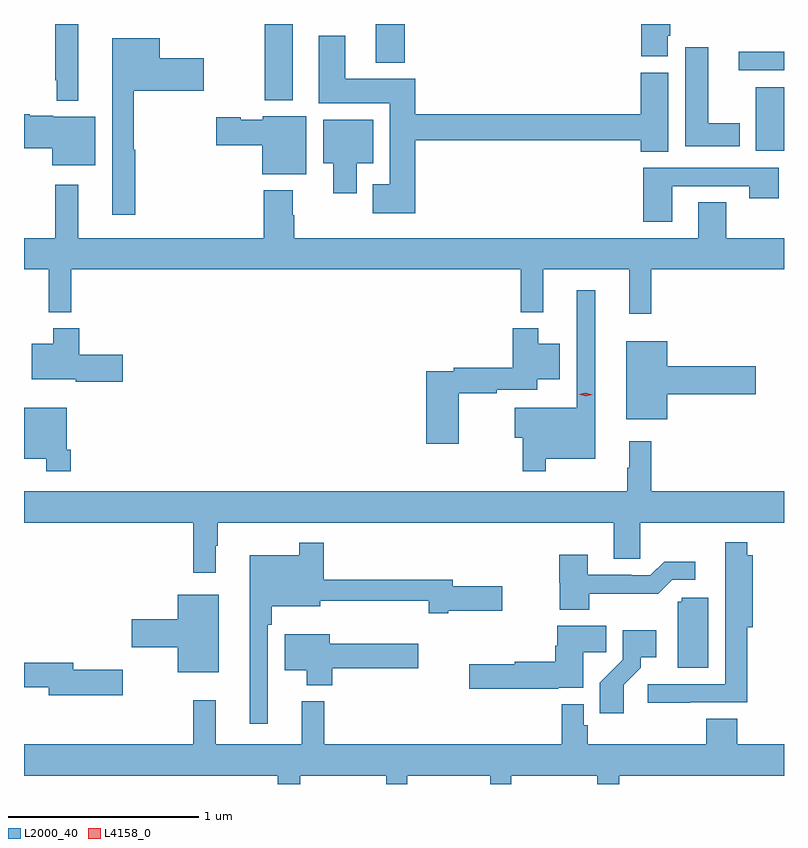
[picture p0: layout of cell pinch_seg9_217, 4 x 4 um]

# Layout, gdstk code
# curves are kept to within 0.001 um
import gdstk
lib = gdstk.Library(unit=1e-6, precision=1e-09)
def R(c, l, rs):  # rectangles x0, y0, x1, y1
    for r in rs: c.add(gdstk.rectangle(r[:2], r[2:], *l))
def P(c, l, *ps):  # polygons
    for p in ps: c.add(gdstk.Polygon(p, *l))
L2000_40 = (2000, 40)
L4158_0 = (4158, 0)

pinch_seg9_217 = lib.new_cell('pinch_seg9_217')
R(pinch_seg9_217, L2000_40, [(583.76,1209.032,583.909,1209.367), (581.176,1209.299,581.323,1209.7), (583.671,1209.456,583.909,1209.554), (581.759,1209.497,581.912,1209.7)])
P(pinch_seg9_217, L2000_40, [(583.297,1209.639),(583.31,1209.639),(583.31,1209.7),(583.157,1209.7),(583.157,1209.529),(583.297,1209.529)],
  [(580.195,1209.7),(580.074,1209.7),(580.074,1209.403),(580.081,1209.403),(580.081,1209.296),(580.195,1209.296)],
  [(581.969,1209.088),(583.154,1209.088),(583.154,1209.028),(583.3,1209.028),(583.3,1209.444),(583.154,1209.444),(583.154,1209.224),(581.969,1209.224),(581.969,1209.412),(581.599,1209.412),(581.599,1209.637),(581.459,1209.637),(581.459,1209.284),(581.834,1209.284),(581.834,1208.857),(581.744,1208.857),(581.744,1208.705),(581.969,1208.705)],
  [(580.495,1209.038),(580.487,1209.038),(580.487,1209.35),(580.855,1209.35),(580.855,1209.52),(580.624,1209.52),(580.624,1209.625),(580.373,1209.625),(580.373,1208.697),(580.495,1208.697)],
  [(583.675,1209.178),(583.51,1209.178),(583.51,1209.577),(583.388,1209.577),(583.388,1209.056),(583.675,1209.056)],
  [(580.285,1209.211),(580.062,1209.211),(580.062,1209.217),(579.94,1209.217),(579.94,1209.224),(579.909,1209.224),(579.909,1209.046),(580.058,1209.046),(580.058,1208.957),(580.285,1208.957)],
  [(581.395,1209.214),(581.166,1209.214),(581.166,1209.196),(581.049,1209.196),(581.049,1209.209),(580.92,1209.209),(580.92,1209.062),(581.162,1209.062),(581.162,1208.909),(581.395,1208.909)],
  [(581.659,1208.966),(581.746,1208.966),(581.746,1209.196),(581.483,1209.196),(581.483,1208.966),(581.537,1208.966),(581.537,1208.808),(581.659,1208.808)],
  [(583.321,1208.847),(583.726,1208.847),(583.726,1208.784),(583.882,1208.784),(583.882,1208.943),(583.169,1208.943),(583.169,1208.658),(583.321,1208.658)],
  [(583.211,1208.408),(583.909,1208.408),(583.909,1208.572),(583.605,1208.572),(583.605,1208.762),(583.457,1208.762),(583.457,1208.572),(581.331,1208.572),(581.331,1208.693),(581.323,1208.693),(581.323,1208.824),(581.171,1208.824),(581.171,1208.572),(580.195,1208.572),(580.195,1208.854),(580.074,1208.854),(580.074,1208.572),(579.909,1208.572),(579.909,1208.408),(580.04,1208.408),(580.04,1208.183),(580.157,1208.183),(580.157,1208.408),(582.523,1208.408),(582.523,1208.183),(582.641,1208.183),(582.641,1208.408),(583.094,1208.408),(583.094,1208.175),(583.211,1208.175)],
  [(582.655,1207.412),(582.916,1207.412),(582.916,1208.299),(582.819,1208.299),(582.819,1207.681),(582.492,1207.681),(582.492,1207.523),(582.534,1207.523),(582.534,1207.347),(582.655,1207.347)],
  [(582.196,1207.756),(582.398,1207.756),(582.398,1207.776),(582.61,1207.776),(582.61,1207.829),(582.73,1207.829),(582.73,1208.017),(582.616,1208.017),(582.616,1208.098),(582.482,1208.098),(582.482,1207.892),(582.172,1207.892),(582.172,1207.872),(582.026,1207.872),(582.026,1207.491),(582.196,1207.491)],
  [(580.429,1207.959),(580.199,1207.959),(580.199,1208.098),(580.064,1208.098),(580.064,1208.017),(579.95,1208.017),(579.95,1207.829),(580.182,1207.829),(580.182,1207.817),(580.429,1207.817)],
  [(583.294,1207.751),(583.759,1207.751),(583.759,1207.898),(583.294,1207.898),(583.294,1208.029),(583.079,1208.029),(583.079,1207.619),(583.294,1207.619)],
  [(580.154,1207.459),(580.134,1207.459),(580.134,1207.681),(579.909,1207.681),(579.909,1207.412),(580.026,1207.412),(580.026,1207.347),(580.154,1207.347)],
  [(580.918,1206.953),(580.93,1206.953),(580.93,1207.076),(583.013,1207.076),(583.013,1206.886),(583.152,1206.886),(583.152,1207.076),(583.909,1207.076),(583.909,1207.24),(583.211,1207.24),(583.211,1207.504),(583.094,1207.504),(583.094,1207.364),(583.083,1207.364),(583.083,1207.24),(579.909,1207.24),(579.909,1207.076),(580.801,1207.076),(580.801,1206.813),(580.918,1206.813)],
  [(583.415,1206.129),(583.715,1206.129),(583.715,1206.524),(583.745,1206.524),(583.745,1206.904),(583.715,1206.904),(583.715,1206.973),(583.599,1206.973),(583.599,1206.225),(583.191,1206.225),(583.191,1206.127),(583.415,1206.127)],
  [(581.193,1206.539),(581.213,1206.539),(581.213,1206.635),(581.467,1206.635),(581.467,1206.664),(582.038,1206.664),(582.038,1206.599),(582.142,1206.599),(582.142,1206.611),(582.427,1206.611),(582.427,1206.741),(582.166,1206.741),(582.166,1206.775),(581.486,1206.775),(581.486,1206.97),(581.358,1206.97),(581.358,1206.904),(581.096,1206.904),(581.096,1206.018),(581.193,1206.018)],
  [(582.885,1206.702),(583.247,1206.701),(583.32,1206.774),(583.441,1206.774),(583.441,1206.871),(583.279,1206.871),(583.206,1206.798),(583.106,1206.798),(583.106,1206.801),(582.877,1206.801),(582.877,1206.907),(582.725,1206.907),(582.725,1206.759),(582.73,1206.759),(582.73,1206.617),(582.885,1206.617)],
  [(580.933,1206.697),(580.718,1206.697),(580.718,1206.566),(580.476,1206.566),(580.476,1206.419),(580.718,1206.419),(580.718,1206.287),(580.933,1206.287)],
  [(583.51,1206.681),(583.371,1206.681),(583.371,1206.66),(583.349,1206.66),(583.349,1206.312),(583.51,1206.312)],
  [(582.72,1206.206),(582.853,1206.206),(582.853,1206.394),(582.974,1206.394),(582.974,1206.532),(582.716,1206.532),(582.716,1206.428),(582.704,1206.428),(582.704,1206.344),(582.492,1206.344),(582.492,1206.331),(582.252,1206.331),(582.252,1206.202),(582.72,1206.202)],
  [(583.066,1206.223),(583.156,1206.313),(583.156,1206.368),(583.237,1206.368),(583.237,1206.508),(583.059,1206.508),(583.059,1206.353),(582.94,1206.234),(582.94,1206.072),(583.066,1206.072)],
  [(581.531,1206.31),(581.983,1206.31),(581.983,1206.439),(581.518,1206.439),(581.518,1206.487),(581.282,1206.487),(581.282,1206.299),(581.396,1206.299),(581.396,1206.221),(581.531,1206.221)],
  [(580.429,1206.302),(580.168,1206.302),(580.168,1206.338),(579.909,1206.338),(579.909,1206.21),(580.04,1206.21),(580.04,1206.167),(580.429,1206.167)],
  [(581.363,1205.744),(581.816,1205.744),(581.816,1205.7),(581.926,1205.7),(581.926,1205.744),(582.363,1205.744),(582.363,1205.7),(582.473,1205.7),(582.473,1205.744),(582.926,1205.744),(582.926,1205.7),(583.043,1205.7),(583.043,1205.744),(583.909,1205.744),(583.909,1205.908),(583.664,1205.908),(583.664,1206.044),(583.499,1206.044),(583.499,1205.908),(582.875,1205.908),(582.875,1206.009),(582.855,1206.009),(582.855,1206.121),(582.739,1206.121),(582.739,1205.908),(581.489,1205.908),(581.489,1206.136),(581.372,1206.136),(581.372,1205.908),(580.919,1205.908),(580.919,1206.142),(580.801,1206.142),(580.801,1205.908),(579.909,1205.908),(579.909,1205.744),(581.245,1205.744),(581.245,1205.7),(581.363,1205.7)])
P(pinch_seg9_217, L4158_0, [(582.865,1207.74),(582.83,1207.751),(582.83,1207.752),(582.83,1207.752),(582.866,1207.76),(582.901,1207.748),(582.901,1207.748),(582.901,1207.748)])

lib.write_gds('pinch_seg9_217.gds')
